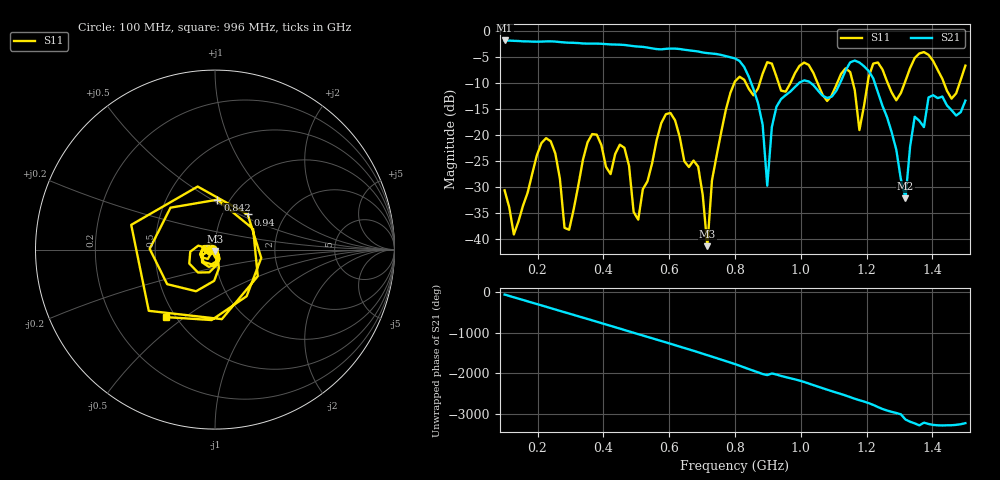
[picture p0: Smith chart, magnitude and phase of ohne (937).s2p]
! NanoVNA-App
! Date: 2025-09-25 14:28:05
! Start: 100MHz Stop: 1,5GHz Points: 101
! S-Parameter data: F S11 S21 S12 S22
# Hz S RI R 50
!  Frequency  S11_Real  S11_Imag  S21_Real  S21_Imag  S12_Real  S12_Imag  S22_Real  S22_Imag
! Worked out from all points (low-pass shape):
!   101 points, 100 MHz to 1.5 GHz, reference 50 ohm
!   highest |S21| = -1.79 dB at 100 MHz (marker M1); lowest = -32.1 dB at 1.318 GHz (marker M2)
!   |S21| within 3 dB of the highest: start of sweep to 771.5 MHz
!   lowest |S11| = -41.4 dB at 716 MHz (marker M3), VSWR 1.02, Z = 49.8 - j0.833 ohm
!   |S11| at or under -10 dB: start of sweep to 797.9 MHz; 833.2 MHz to 875.1 MHz (41.93 MHz wide, 4.91 % of centre); 1.051 GHz to 1.11 GHz (59.34 MHz wide, 5.49 % of centre) (the widest 3 of 7)
!   S12 and S22 are empty: the file has one direction only
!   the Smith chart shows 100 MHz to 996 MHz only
!   S11 on the Smith chart (normalised r, x): 100 MHz: 0.94, -0.01; 842 MHz: 0.88, +0.53; 940 MHz: 1.31, +0.55; 996 MHz: 0.45, -0.43
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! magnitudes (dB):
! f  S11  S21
! 100 MHz  -30.6  -1.8
! 128 MHz  -39.1  -1.9
! 226 MHz  -20.6  -2.0
! 296 MHz  -38.2  -2.2
! 338 MHz  -24.7  -2.4
! 464 MHz  -22.4  -2.7
! 506 MHz  -36.3  -3.0
! 576 MHz  -17.7  -3.5
! 688 MHz  -26.1  -3.9
! 716 MHz  -41.4  -4.2
! 800 MHz  -9.7  -5.3
! 842 MHz  -11.1  -8.8
! 898 MHz  -6.0  -29.7
! 940 MHz  -11.4  -13.1
! 996 MHz  -6.7  -9.9
! 1.038 GHz  -8.0  -10.4
! 1.178 GHz  -19.0  -6.0
! 1.22 GHz  -6.2  -9.1
! 1.276 GHz  -11.8  -19.5
! 1.318 GHz  -9.6  -32.1
! 1.346 GHz  -5.2  -16.5
! 1.5 GHz  -6.6  -13.4
